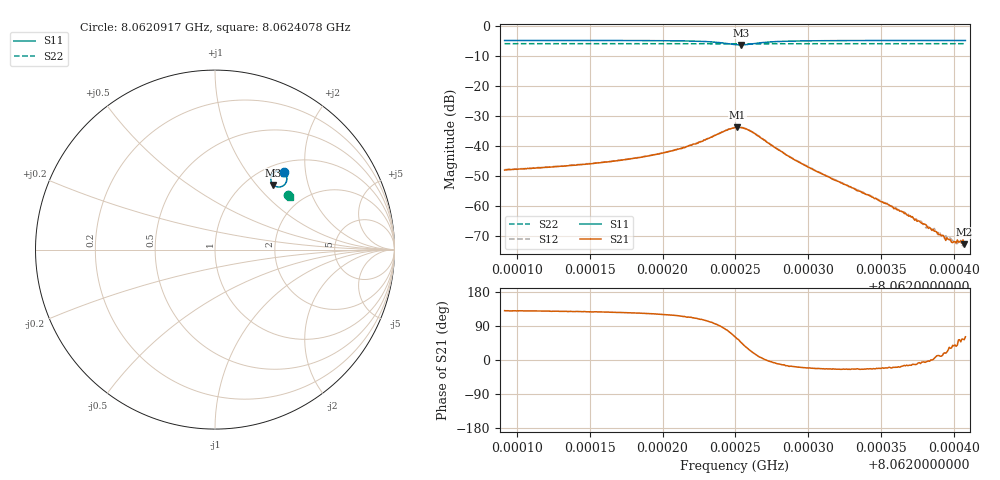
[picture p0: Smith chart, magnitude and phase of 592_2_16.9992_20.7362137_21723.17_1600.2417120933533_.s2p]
#  HZ  S  RI  R  50.00
! Rohde & Schwarz Vector Network Analyzer
! Rohde-Schwarz,ZNB20-2Port,1311601062101988,3.16
! Created: UTC 3/20/2024, 11:18:40 PM
! freq[Hz]  re:S11  im:S11  re:S21  im:S21  re:S12  im:S12  re:S22  im:S22
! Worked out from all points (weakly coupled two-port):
!   401 points, 8.0620917 GHz to 8.0624078 GHz, reference 50 ohm
!   highest |S21| = -33.81 dB at 8.0622513 GHz (marker M1); lowest = -72.9 dB at 8.062407 GHz (marker M2)
!   lowest |S11| = -6.3 dB at 8.0622537 GHz (marker M3), VSWR 2.89, Z = 65.4 + j61.6 ohm
!   |S11| at or under -10 dB: nowhere
!   |S22| runs from -5.9 to -5.9 dB; largest |S21 - S12| = 0.0015
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8.06209166e9  0.3833 0.4298  -0.00256 0.00302  -0.00241 0.00324  0.4062 0.3063
8.06214461e9  0.3889 0.4238  -0.00298 0.00387  -0.00275 0.00408  0.4081 0.3035
8.06217464e9  0.3929 0.4181  -0.00339 0.00484  -0.00313 0.00511  0.4093 0.3017
8.06219756e9  0.3968 0.4108  -0.00378 0.00633  -0.00345 0.0066  0.4101 0.3003
8.06222364e9  0.4002 0.3906  -0.00374 0.0104  -0.00308 0.0108  0.4109 0.2982
8.06223865e9  0.3888 0.3632  -0.000312 0.016  0.000598 0.0161  0.4106 0.2964
8.06224972e9  0.3451 0.3496  0.00969 0.0178  0.0107 0.0173  0.4087 0.2957
8.0622513e9  0.3367 0.3525  0.0115 0.0168  0.0125 0.0164  0.4083 0.2959
8.06225367e9  0.3255 0.3601  0.0138 0.0148  0.0147 0.0141  0.4083 0.2963
8.06226078e9  0.3109 0.3948  0.0161 0.00678  0.0166 0.00589  0.4083 0.2978
8.06227185e9  0.3284 0.4285  0.0114 -0.000282  0.0116 -0.000935  0.4098 0.2985
8.06228607e9  0.3504 0.4374  0.00659 -0.00182  0.00655 -0.00218  0.4114 0.2978
8.06230267e9  0.3638 0.437  0.00383 -0.00153  0.00381 -0.00178  0.4126 0.297
8.06235561e9  0.3802 0.4308  0.000965 -0.000335  0.000936 -0.000427  0.4148 0.2939
8.06237616e9  0.3833 0.4289  0.000551 -6.71e-05  0.000524 -0.000146  0.4157 0.2926
8.06237932e9  0.3838 0.4287  0.000498 -4.49e-05  0.000476 -9.19e-05  0.4158 0.2925
8.06238644e9  0.3847 0.428  0.000376 2.93e-05  0.000419 -1.71e-05  0.416 0.2922
8.06239197e9  0.3854 0.4275  0.000315 6.54e-05  0.00031 6.69e-05  0.4163 0.2919
8.06239513e9  0.3857 0.4274  0.000274 0.000107  0.000287 6.72e-05  0.4163 0.2917
8.06240066e9  0.3864 0.4269  0.000193 0.000161  0.000211 0.000151  0.4164 0.2915
8.06240698e9  0.3869 0.4264  0.000134 0.000183  0.000187 0.000188  0.4169 0.2911
8.06240777e9  0.3869 0.4264  0.000116 0.00021  0.000121 0.000203  0.4169 0.2911
